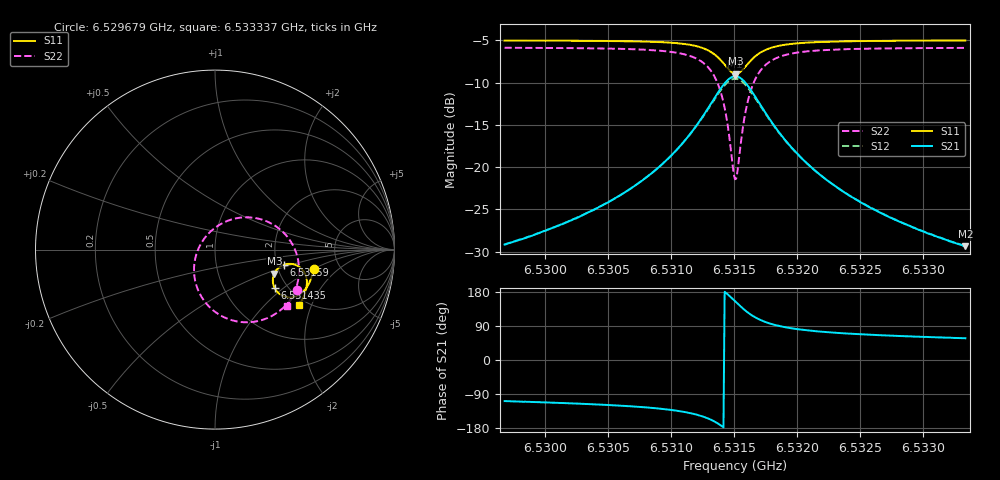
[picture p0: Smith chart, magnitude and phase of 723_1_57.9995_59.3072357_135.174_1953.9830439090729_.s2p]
#  HZ  S  RI  R  50.00
! Rohde & Schwarz Vector Network Analyzer
! Rohde-Schwarz,ZNB20-2Port,1311601062101988,3.16
! Created: UTC 3/21/2024, 1:22:45 AM
! freq[Hz]  re:S11  im:S11  re:S21  im:S21  re:S12  im:S12  re:S22  im:S22
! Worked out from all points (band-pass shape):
!   401 points, 6.529679 GHz to 6.533337 GHz, reference 50 ohm
!   highest |S21| = -9.25 dB at 6.531508 GHz (marker M1); lowest = -29.4 dB at 6.533337 GHz (marker M2)
!   |S21| within 3 dB of the highest: 6.531328 GHz to 6.531693 GHz (365.4 kHz wide, 0.00559 % of centre)
!   lowest |S11| = -9.0 dB at 6.531517 GHz (marker M3), VSWR 2.11, Z = 93.7 - j28.6 ohm
!   |S11| at or under -10 dB: nowhere
!   |S22| runs from -21.4 to -5.9 dB; largest |S21 - S12| = 0.014
!   S11 on the Smith chart (normalised r, x): 6.529679 GHz: 3.22, -0.99; 6.531435 GHz: 1.71, -0.88; 6.53159 GHz: 2.19, -0.44; 6.533337 GHz: 1.81, -1.64
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6.5296791e9  0.5502 -0.1053  -0.011 -0.033  -0.0118 -0.0328  0.4562 -0.2238
6.5302919e9  0.5363 -0.1573  -0.0225 -0.0465  -0.0235 -0.0461  0.4193 -0.2817
6.5306394e9  0.5223 -0.1908  -0.0373 -0.0609  -0.0389 -0.0599  0.3807 -0.3237
6.5309046e9  0.5032 -0.2211  -0.062 -0.0786  -0.0642 -0.0769  0.3255 -0.3646
6.5311149e9  0.4726 -0.2492  -0.1072 -0.0978  -0.1101 -0.0938  0.2349 -0.399
6.5312795e9  0.4195 -0.2658  -0.1896 -0.0996  -0.1915 -0.0911  0.0857 -0.3908
6.531371e9  0.3688 -0.2531  -0.2675 -0.0606  -0.2644 -0.0492  -0.0403 -0.3098
6.5314075e9  0.3468 -0.2353  -0.2995 -0.024  -0.2931 -0.0125  -0.0867 -0.242
6.531435e9  0.3328 -0.2155  -0.3184 0.014  -0.309 0.0246  -0.1102 -0.1753
6.5314898e9  0.3226 -0.1618  -0.3242 0.111  -0.3107 0.1158  -0.1007 -0.016
6.5315081e9  0.3268 -0.1426  -0.3132 0.144  -0.2996 0.1466  -0.0767 0.0359
6.5315173e9  0.3306 -0.1333  -0.3053 0.1597  -0.2918 0.1612  -0.0609 0.06
6.5315356e9  0.3406 -0.1163  -0.2851 0.1881  -0.2724 0.1874  -0.023 0.1026
6.5315904e9  0.3843 -0.0845  -0.2048 0.2407  -0.1965 0.2361  0.1175 0.1743
6.5316179e9  0.4076 -0.0794  -0.1635 0.2483  -0.1576 0.2435  0.187 0.18
6.5316544e9  0.4352 -0.0813  -0.116 0.245  -0.1121 0.2406  0.2661 0.1655
6.5317459e9  0.4804 -0.1056  -0.0393 0.2079  -0.0377 0.2055  0.3896 0.0868
6.5318831e9  0.506 -0.1455  0.00519 0.1517  0.0065 0.1508  0.4545 -0.0245
6.5321208e9  0.512 -0.1933  0.0224 0.0963  0.0236 0.0957  0.4676 -0.1371
6.5323952e9  0.5056 -0.2291  0.0238 0.0653  0.0248 0.0649  0.4542 -0.2056
6.5327335e9  0.4936 -0.262  0.0218 0.0456  0.0228 0.0454  0.4338 -0.2565
6.5333371e9  0.469 -0.3087  0.0184 0.0287  0.0189 0.0284  0.3986 -0.3139
